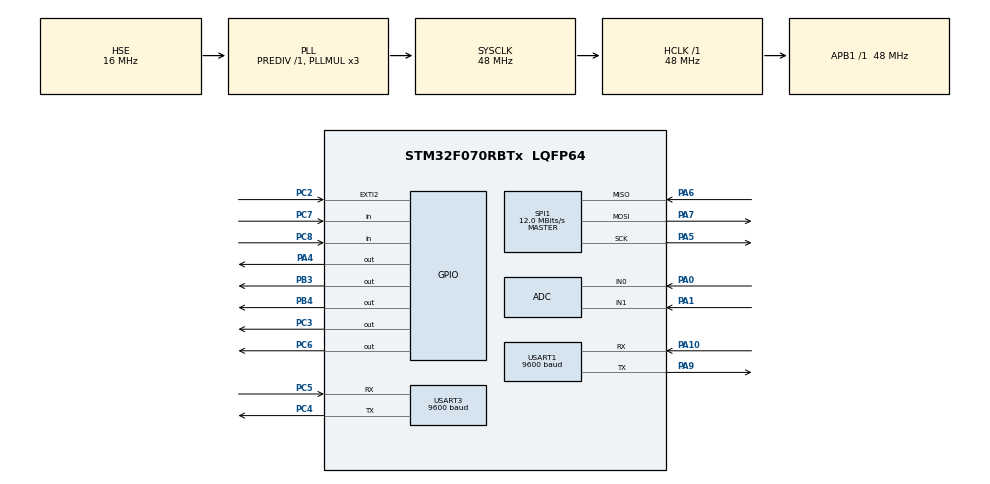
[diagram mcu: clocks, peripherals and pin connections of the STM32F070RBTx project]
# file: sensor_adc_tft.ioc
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ADC.ContinuousConvMode=ENABLE
ADC.SamplingTime=ADC_SAMPLETIME_239CYCLES_5
Mcu.Family=STM32F0
Mcu.Name=STM32F070RBTx
Mcu.Package=LQFP64
NVIC.ADC1_IRQn=true\:0\:0\:false\:false\:true
NVIC.USART1_IRQn=true\:0\:0\:false\:false\:true
NVIC.USART3_4_IRQn=true\:0\:0\:false\:false\:true
PA0.Mode=IN0
PA0.Signal=ADC_IN0
PA1.Mode=IN1
PA1.Signal=ADC_IN1
PA10.Mode=Asynchronous
PA10.Signal=USART1_RX
PA4.PinState=GPIO_PIN_SET
PA4.Signal=GPIO_Output
PA5.Mode=Full_Duplex_Master
PA5.Signal=SPI1_SCK
PA6.Mode=Full_Duplex_Master
PA6.Signal=SPI1_MISO
PA7.Mode=Full_Duplex_Master
PA7.Signal=SPI1_MOSI
PA9.Mode=Asynchronous
PA9.Signal=USART1_TX
PB3.PinState=GPIO_PIN_RESET
PB3.Signal=GPIO_Output
PB4.Signal=GPIO_Output
PC2.Signal=GPXTI2
PC3.PinState=GPIO_PIN_SET
PC3.Signal=GPIO_Output
PC4.Mode=Asynchronous
PC4.Signal=USART3_TX
PC5.Mode=Asynchronous
PC5.Signal=USART3_RX
PC6.PinState=GPIO_PIN_SET
PC6.Signal=GPIO_Output
PC7.Signal=GPIO_Input
PC8.Signal=GPIO_Input
PF0-OSC_IN.Mode=HSE-External-Oscillator
PF0-OSC_IN.Signal=RCC_OSC_IN
PF1-OSC_OUT.Mode=HSE-External-Oscillator
PF1-OSC_OUT.Signal=RCC_OSC_OUT
ProjectManager.HeapSize=0x200
ProjectManager.StackSize=0x400
ProjectManager.TargetToolchain=MDK-ARM V5
RCC.AHBFreq_Value=48000000
RCC.APB1Freq_Value=48000000
RCC.APB1TimFreq_Value=48000000
RCC.HCLKFreq_Value=48000000
RCC.HSE_VALUE=16000000
RCC.PLLMUL=RCC_PLL_MUL3
RCC.PLLSourceVirtual=RCC_PLLSOURCE_HSE
RCC.SYSCLKFreq_VALUE=48000000
RCC.SYSCLKSource=RCC_SYSCLKSOURCE_PLLCLK
SPI1.BaudRatePrescaler=SPI_BAUDRATEPRESCALER_4
SPI1.CalculateBaudRate=12.0 MBits/s
SPI1.DataSize=SPI_DATASIZE_8BIT
SPI1.Direction=SPI_DIRECTION_2LINES
SPI1.Mode=SPI_MODE_MASTER
SPI1.VirtualType=VM_MASTER
USART1.BaudRate=9600
USART1.VirtualMode-Asynchronous=VM_ASYNC
USART1.WordLength=WORDLENGTH_8B
USART3.BaudRate=9600
USART3.VirtualMode-Asynchronous=VM_ASYNC
USART3.WordLength=WORDLENGTH_8B
board=sensor_adc_tft

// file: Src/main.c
/**
  ******************************************************************************
  * File Name          : main.c
  * Description        : Main program body
  ******************************************************************************
  ** This notice applies to any and all portions of this file
  * that are not between comment pairs USER CODE BEGIN and
  * USER CODE END. Other portions of this file, whether
  * inserted by the user or by software development tools
  * are owned by their respective copyright owners.
  *
  * COPYRIGHT(c) 2017 STMicroelectronics
  *
  * Redistribution and use in source and binary forms, with or without modification,
  * are permitted provided that the following conditions are met:
  *   1. Redistributions of source code must retain the above copyright notice,
  *      this list of conditions and the following disclaimer.
  *   2. Redistributions in binary form must reproduce the above copyright notice,
  *      this list of conditions and the following disclaimer in the documentation
  *      and/or other materials provided with the distribution.
  *   3. Neither the name of STMicroelectronics nor the names of its contributors
  *      may be used to endorse or promote products derived from this software
  *      without specific prior written permission.
  *
  * THIS SOFTWARE IS PROVIDED BY THE COPYRIGHT HOLDERS AND CONTRIBUTORS "AS IS"
  * AND ANY EXPRESS OR IMPLIED WARRANTIES, INCLUDING, BUT NOT LIMITED TO, THE
  * IMPLIED WARRANTIES OF MERCHANTABILITY AND FITNESS FOR A PARTICULAR PURPOSE ARE
  * DISCLAIMED. IN NO EVENT SHALL THE COPYRIGHT HOLDER OR CONTRIBUTORS BE LIABLE
  * FOR ANY DIRECT, INDIRECT, INCIDENTAL, SPECIAL, EXEMPLARY, OR CONSEQUENTIAL
  * DAMAGES (INCLUDING, BUT NOT LIMITED TO, PROCUREMENT OF SUBSTITUTE GOODS OR
  * SERVICES; LOSS OF USE, DATA, OR PROFITS; OR BUSINESS INTERRUPTION) HOWEVER
  * CAUSED AND ON ANY THEORY OF LIABILITY, WHETHER IN CONTRACT, STRICT LIABILITY,
  * OR TORT (INCLUDING NEGLIGENCE OR OTHERWISE) ARISING IN ANY WAY OUT OF THE USE
  * OF THIS SOFTWARE, EVEN IF ADVISED OF THE POSSIBILITY OF SUCH DAMAGE.
  *
  ******************************************************************************
  */
#include "main.h"
#include "stm32f0xx_hal.h"

/* USER CODE BEGIN Includes */
#include "tft_spi.c"
/* USER CODE END Includes */

ADC_HandleTypeDef hadc;
ADC_ChannelConfTypeDef sConfig;
SPI_HandleTypeDef hspi1;

UART_HandleTypeDef huart1;
UART_HandleTypeDef huart3;

/* USER CODE BEGIN PV */
/* Private variables ---------------------------------------------------------*/
unsigned int raw,raw2,len=0,len2=0,flag=0,flag1=0,a=0;
char buffer[100],buffer2[100];
/* USER CODE END PV */

void SystemClock_Config(void);
static void MX_GPIO_Init(void);
static void MX_ADC_Init(void);
static void MX_USART3_UART_Init(void);
static void MX_SPI1_Init(void);
static void MX_USART1_UART_Init(void);

/* USER CODE BEGIN PFP */
/* Private function prototypes -----------------------------------------------*/

/* USER CODE END PFP */

/* USER CODE BEGIN 0 */
void HAL_ADC_ConvCpltCallback(ADC_HandleTypeDef* hadc)
{
	//int s;
  /* Prevent unused argument(s) compilation warning */
  UNUSED(hadc);
	//s= ADC_CFGR1_AWDCH_1;
if(sConfig.Channel == ADC_CHANNEL_0)
{
raw=HAL_ADC_GetValue(hadc);
flag=1;
}
/*if(sConfig.Channel == ADC_CHANNEL_1)
{
	raw2=HAL_ADC_GetValue(hadc);
	flag1=1;
}*/
else
{
	a=1;
}
  /* NOTE : This function should not be modified. When the callback is needed,
            function HAL_ADC_ConvCpltCallback must be implemented in the user file.
   */
}
/* USER CODE END 0 */

int main(void)
{

  /* MCU Configuration----------------------------------------------------------*/

  /* Reset of all peripherals, Initializes the Flash interface and the Systick. */
  HAL_Init();

  /* Configure the system clock */
  SystemClock_Config();

  /* Initialize all configured peripherals */
  MX_GPIO_Init();
  MX_ADC_Init();
  MX_USART3_UART_Init();
  MX_SPI1_Init();
  MX_USART1_UART_Init();

  /* USER CODE BEGIN 2 */
tft_init();
  /* USER CODE END 2 */

  /* Infinite loop */
  while (1)
  {

  /* USER CODE BEGIN 3 */

HAL_ADC_Start_IT(&hadc);
HAL_Delay(100);
if(flag==1)
{
sprintf(buffer,"IR is %d",raw);
len=strlen(buffer);
POINT_COLOR=RED;
tft_puts14x24(10,10,buffer,1);
HAL_UART_Transmit(&huart1,buffer,len,10);
HAL_UART_Transmit(&huart1,"\r\n",1,10);
flag=0;
	}
HAL_Delay(500);
if(flag1==1)
{
sprintf(buffer2,"MQ5 is %d",raw2);
len2=strlen(buffer2);
POINT_COLOR=RED;
tft_puts14x24(50,10,buffer2,1);
HAL_UART_Transmit(&huart1,buffer2,len2,10);
HAL_UART_Transmit(&huart1,"\r\n",1,10);
flag1=0;
	}
if(a==1)
{

HAL_UART_Transmit(&huart1,"hello",5,10);
HAL_UART_Transmit(&huart1,"\r\n",1,10);
a=0;
	}
  }
  /* USER CODE END 3 */

}

/** System Clock Configuration
*/
void SystemClock_Config(void)
{

  RCC_OscInitTypeDef RCC_OscInitStruct;
  RCC_ClkInitTypeDef RCC_ClkInitStruct;
  RCC_PeriphCLKInitTypeDef PeriphClkInit;

    /**Initializes the CPU, AHB and APB busses clocks
    */
  RCC_OscInitStruct.OscillatorType = RCC_OSCILLATORTYPE_HSI14|RCC_OSCILLATORTYPE_HSE;
  RCC_OscInitStruct.HSEState = RCC_HSE_ON;
  RCC_OscInitStruct.HSIState = RCC_HSI_ON;
  RCC_OscInitStruct.HSI14State = RCC_HSI14_ON;
  RCC_OscInitStruct.HSI14CalibrationValue = 16;
  RCC_OscInitStruct.PLL.PLLState = RCC_PLL_ON;
  RCC_OscInitStruct.PLL.PLLSource = RCC_PLLSOURCE_HSE;
  RCC_OscInitStruct.PLL.PLLMUL = RCC_PLL_MUL3;
  RCC_OscInitStruct.PLL.PREDIV = RCC_PREDIV_DIV1;
  if (HAL_RCC_OscConfig(&RCC_OscInitStruct) != HAL_OK)
  {
    _Error_Handler(__FILE__, __LINE__);
  }

    /**Initializes the CPU, AHB and APB busses clocks
    */
  RCC_ClkInitStruct.ClockType = RCC_CLOCKTYPE_HCLK|RCC_CLOCKTYPE_SYSCLK
                              |RCC_CLOCKTYPE_PCLK1;
  RCC_ClkInitStruct.SYSCLKSource = RCC_SYSCLKSOURCE_PLLCLK;
  RCC_ClkInitStruct.AHBCLKDivider = RCC_SYSCLK_DIV1;
  RCC_ClkInitStruct.APB1CLKDivider = RCC_HCLK_DIV1;

  if (HAL_RCC_ClockConfig(&RCC_ClkInitStruct, FLASH_LATENCY_1) != HAL_OK)
  {
    _Error_Handler(__FILE__, __LINE__);
  }

  PeriphClkInit.PeriphClockSelection = RCC_PERIPHCLK_USART1;
  PeriphClkInit.Usart1ClockSelection = RCC_USART1CLKSOURCE_PCLK1;
  if (HAL_RCCEx_PeriphCLKConfig(&PeriphClkInit) != HAL_OK)
  {
    _Error_Handler(__FILE__, __LINE__);
  }

    /**Configure the Systick interrupt time
    */
  HAL_SYSTICK_Config(HAL_RCC_GetHCLKFreq()/1000);

    /**Configure the Systick
    */
  HAL_SYSTICK_CLKSourceConfig(SYSTICK_CLKSOURCE_HCLK);

  /* SysTick_IRQn interrupt configuration */
  HAL_NVIC_SetPriority(SysTick_IRQn, 0, 0);
}

/* ADC init function */
static void MX_ADC_Init(void)
{

    /**Configure the global features of the ADC (Clock, Resolution, Data Alignment and number of conversion)
    */
  hadc.Instance = ADC1;
  hadc.Init.ClockPrescaler = ADC_CLOCK_ASYNC_DIV1;
  hadc.Init.Resolution = ADC_RESOLUTION_12B;
  hadc.Init.DataAlign = ADC_DATAALIGN_RIGHT;
  hadc.Init.ScanConvMode = ADC_SCAN_DIRECTION_FORWARD;
  hadc.Init.EOCSelection = ADC_EOC_SINGLE_CONV;
  hadc.Init.LowPowerAutoWait = DISABLE;
  hadc.Init.LowPowerAutoPowerOff = DISABLE;
  hadc.Init.ContinuousConvMode = ENABLE;
  hadc.Init.DiscontinuousConvMode = DISABLE;
  hadc.Init.ExternalTrigConv = ADC_SOFTWARE_START;
  hadc.Init.ExternalTrigConvEdge = ADC_EXTERNALTRIGCONVEDGE_NONE;
  hadc.Init.DMAContinuousRequests = DISABLE;
  hadc.Init.Overrun = ADC_OVR_DATA_PRESERVED;
  if (HAL_ADC_Init(&hadc) != HAL_OK)
  {
    _Error_Handler(__FILE__, __LINE__);
  }

    /**Configure for the selected ADC regular channel to be converted.
    */
  sConfig.Channel = ADC_CHANNEL_0;
  sConfig.Rank = ADC_RANK_CHANNEL_NUMBER;
  sConfig.SamplingTime = ADC_SAMPLETIME_239CYCLES_5;
  if (HAL_ADC_ConfigChannel(&hadc, &sConfig) != HAL_OK)
  {
    _Error_Handler(__FILE__, __LINE__);
  }

    /**Configure for the selected ADC regular channel to be converted.
    */
  sConfig.Channel = ADC_CHANNEL_1;
  if (HAL_ADC_ConfigChannel(&hadc, &sConfig) != HAL_OK)
  {
    _Error_Handler(__FILE__, __LINE__);
  }

}

/* SPI1 init function */
static void MX_SPI1_Init(void)
{

  hspi1.Instance = SPI1;
  hspi1.Init.Mode = SPI_MODE_MASTER;
  hspi1.Init.Direction = SPI_DIRECTION_2LINES;
  hspi1.Init.DataSize = SPI_DATASIZE_8BIT;
  hspi1.Init.CLKPolarity = SPI_POLARITY_LOW;
  hspi1.Init.CLKPhase = SPI_PHASE_1EDGE;
  hspi1.Init.NSS = SPI_NSS_SOFT;
  hspi1.Init.BaudRatePrescaler = SPI_BAUDRATEPRESCALER_4;
  hspi1.Init.FirstBit = SPI_FIRSTBIT_MSB;
  hspi1.Init.TIMode = SPI_TIMODE_DISABLE;
  hspi1.Init.CRCCalculation = SPI_CRCCALCULATION_DISABLE;
  hspi1.Init.CRCPolynomial = 7;
  hspi1.Init.CRCLength = SPI_CRC_LENGTH_DATASIZE;
  hspi1.Init.NSSPMode = SPI_NSS_PULSE_ENABLE;
  if (HAL_SPI_Init(&hspi1) != HAL_OK)
  {
    _Error_Handler(__FILE__, __LINE__);
  }

}

/* USART1 init function */
static void MX_USART1_UART_Init(void)
{

  huart1.Instance = USART1;
  huart1.Init.BaudRate = 9600;
  huart1.Init.WordLength = UART_WORDLENGTH_8B;
  huart1.Init.StopBits = UART_STOPBITS_1;
  huart1.Init.Parity = UART_PARITY_NONE;
  huart1.Init.Mode = UART_MODE_TX_RX;
  huart1.Init.HwFlowCtl = UART_HWCONTROL_NONE;
  huart1.Init.OverSampling = UART_OVERSAMPLING_16;
  huart1.Init.OneBitSampling = UART_ONE_BIT_SAMPLE_DISABLE;
  huart1.AdvancedInit.AdvFeatureInit = UART_ADVFEATURE_NO_INIT;
  if (HAL_UART_Init(&huart1) != HAL_OK)
  {
    _Error_Handler(__FILE__, __LINE__);
  }

}

/* USART3 init function */
static void MX_USART3_UART_Init(void)
{

  huart3.Instance = USART3;
  huart3.Init.BaudRate = 9600;
  huart3.Init.WordLength = UART_WORDLENGTH_8B;
  huart3.Init.StopBits = UART_STOPBITS_1;
  huart3.Init.Parity = UART_PARITY_NONE;
  huart3.Init.Mode = UART_MODE_TX_RX;
  huart3.Init.HwFlowCtl = UART_HWCONTROL_NONE;
  huart3.Init.OverSampling = UART_OVERSAMPLING_16;
  huart3.Init.OneBitSampling = UART_ONE_BIT_SAMPLE_DISABLE;
  huart3.AdvancedInit.AdvFeatureInit = UART_ADVFEATURE_NO_INIT;
  if (HAL_UART_Init(&huart3) != HAL_OK)
  {
    _Error_Handler(__FILE__, __LINE__);
  }

}

/** Configure pins as
        * Analog
        * Input
        * Output
        * EVENT_OUT
        * EXTI
*/
static void MX_GPIO_Init(void)
{

  GPIO_InitTypeDef GPIO_InitStruct;

  /* GPIO Ports Clock Enable */
  __HAL_RCC_GPIOF_CLK_ENABLE();
  __HAL_RCC_GPIOC_CLK_ENABLE();
  __HAL_RCC_GPIOA_CLK_ENABLE();
  __HAL_RCC_GPIOB_CLK_ENABLE();

  /*Configure GPIO pin Output Level */
  HAL_GPIO_WritePin(GPIOC, GPIO_PIN_3|GPIO_PIN_6, GPIO_PIN_SET);

  /*Configure GPIO pin Output Level */
  HAL_GPIO_WritePin(GPIOA, GPIO_PIN_4, GPIO_PIN_SET);

  /*Configure GPIO pin Output Level */
  HAL_GPIO_WritePin(GPIOB, GPIO_PIN_3|GPIO_PIN_4, GPIO_PIN_RESET);

  /*Configure GPIO pin : PC2 */
  GPIO_InitStruct.Pin = GPIO_PIN_2;
  GPIO_InitStruct.Mode = GPIO_MODE_IT_RISING;
  GPIO_InitStruct.Pull = GPIO_NOPULL;
  HAL_GPIO_Init(GPIOC, &GPIO_InitStruct);

  /*Configure GPIO pins : PC3 PC6 */
  GPIO_InitStruct.Pin = GPIO_PIN_3|GPIO_PIN_6;
  GPIO_InitStruct.Mode = GPIO_MODE_OUTPUT_PP;
  GPIO_InitStruct.Pull = GPIO_NOPULL;
  GPIO_InitStruct.Speed = GPIO_SPEED_FREQ_LOW;
  HAL_GPIO_Init(GPIOC, &GPIO_InitStruct);

  /*Configure GPIO pin : PA4 */
  GPIO_InitStruct.Pin = GPIO_PIN_4;
  GPIO_InitStruct.Mode = GPIO_MODE_OUTPUT_PP;
  GPIO_InitStruct.Pull = GPIO_NOPULL;
  GPIO_InitStruct.Speed = GPIO_SPEED_FREQ_LOW;
  HAL_GPIO_Init(GPIOA, &GPIO_InitStruct);

  /*Configure GPIO pins : PC7 PC8 */
  GPIO_InitStruct.Pin = GPIO_PIN_7|GPIO_PIN_8;
  GPIO_InitStruct.Mode = GPIO_MODE_INPUT;
  GPIO_InitStruct.Pull = GPIO_NOPULL;
  HAL_GPIO_Init(GPIOC, &GPIO_InitStruct);

  /*Configure GPIO pins : PB3 PB4 */
  GPIO_InitStruct.Pin = GPIO_PIN_3|GPIO_PIN_4;
  GPIO_InitStruct.Mode = GPIO_MODE_OUTPUT_PP;
  GPIO_InitStruct.Pull = GPIO_NOPULL;
  GPIO_InitStruct.Speed = GPIO_SPEED_FREQ_LOW;
  HAL_GPIO_Init(GPIOB, &GPIO_InitStruct);

}

void _Error_Handler(char * file, int line)
{
  while(1)
  {
  }
}

/************************ (C) COPYRIGHT STMicroelectronics *****END OF FILE****/
